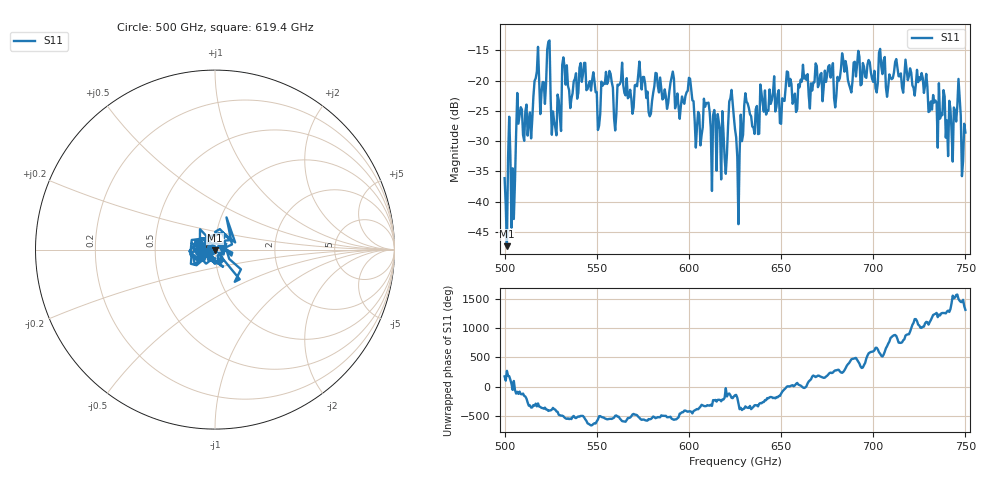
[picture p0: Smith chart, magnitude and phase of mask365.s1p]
!Created with skrf (http://scikit-rf.org).
# GHz S MA R 50.0
!freq magS11 angS11
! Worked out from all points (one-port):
!   401 points, 500 GHz to 750 GHz, reference 50 ohm
!   lowest |S11| = -47.4 dB at 501.2 GHz (marker M1), VSWR 1.01, Z = 50 - j0.427 ohm
!   |S11| at or under -10 dB: start of sweep to end of sweep
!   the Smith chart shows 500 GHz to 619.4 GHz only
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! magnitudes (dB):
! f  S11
! 500 GHz  -36.1
! 501.2 GHz  -47.4
! 504.4 GHz  -34.5
! 507.5 GHz  -27.1
! 513.8 GHz  -25.3
! 517.5 GHz  -18.5
! 520.6 GHz  -20.2
! 523.8 GHz  -13.5
! 526.9 GHz  -26.7
! 531.2 GHz  -17.4
! 542.5 GHz  -19.0
! 550.6 GHz  -28.2
! 562.5 GHz  -20.6
! 593.8 GHz  -22.1
! 600 GHz  -19.5
! 605 GHz  -25.2
! 609.4 GHz  -23.7
! 618.8 GHz  -28.6
! 622.5 GHz  -22.9
! 625 GHz  -28.0
! 626.2 GHz  -32.7
! 631.2 GHz  -23.5
! 656.2 GHz  -23.8
! 687.5 GHz  -21.3
! 718.8 GHz  -19.9
! 741.9 GHz  -24.6
! 746.2 GHz  -19.7
! 750 GHz  -28.6
